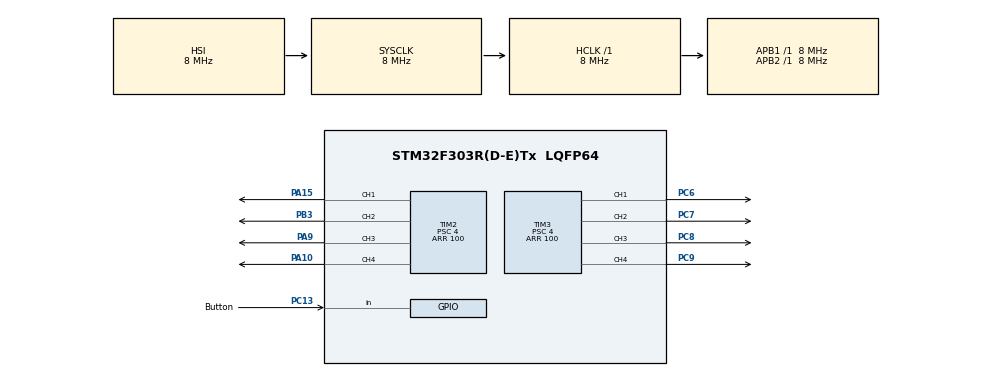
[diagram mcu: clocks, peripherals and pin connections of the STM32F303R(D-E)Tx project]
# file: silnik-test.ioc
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Mcu.Family=STM32F3
Mcu.Name=STM32F303R(D-E)Tx
Mcu.Package=LQFP64
NVIC.PriorityGroup=NVIC_PRIORITYGROUP_4
PA10.Signal=S_TIM2_CH4
PA15.Signal=S_TIM2_CH1_ETR
PA9.Signal=S_TIM2_CH3
PB3.Signal=S_TIM2_CH2
PC13.GPIO_Label=Button
PC13.Signal=GPIO_Input
PC6.Signal=S_TIM3_CH1
PC7.Signal=S_TIM3_CH2
PC8.Signal=S_TIM3_CH3
PC9.Signal=S_TIM3_CH4
ProjectManager.HeapSize=0x200
ProjectManager.StackSize=0x400
ProjectManager.TargetToolchain=STM32CubeIDE
RCC.AHBFreq_Value=8000000
RCC.APB1Freq_Value=8000000
RCC.APB2Freq_Value=8000000
RCC.CortexFreq_Value=8000000
RCC.HSE_VALUE=8000000
RCC.HSI_VALUE=8000000
RCC.LSE_VALUE=32768
RCC.SYSCLKFreq_VALUE=8000000
RCC.USBFreq_Value=16000000
SH.S_TIM2_CH1_ETR.0=TIM2_CH1,PWM Generation1 CH1
SH.S_TIM2_CH2.0=TIM2_CH2,PWM Generation2 CH2
SH.S_TIM2_CH3.0=TIM2_CH3,PWM Generation3 CH3
SH.S_TIM2_CH4.0=TIM2_CH4,PWM Generation4 CH4
SH.S_TIM3_CH1.0=TIM3_CH1,PWM Generation1 CH1
SH.S_TIM3_CH2.0=TIM3_CH2,PWM Generation2 CH2
SH.S_TIM3_CH3.0=TIM3_CH3,PWM Generation3 CH3
SH.S_TIM3_CH4.0=TIM3_CH4,PWM Generation4 CH4
TIM2.Channel-PWM\ Generation1\ CH1=TIM_CHANNEL_1
TIM2.Channel-PWM\ Generation2\ CH2=TIM_CHANNEL_2
TIM2.Channel-PWM\ Generation3\ CH3=TIM_CHANNEL_3
TIM2.Channel-PWM\ Generation4\ CH4=TIM_CHANNEL_4
TIM2.Period=100
TIM2.Prescaler=4
TIM3.Channel-PWM\ Generation1\ CH1=TIM_CHANNEL_1
TIM3.Channel-PWM\ Generation2\ CH2=TIM_CHANNEL_2
TIM3.Channel-PWM\ Generation3\ CH3=TIM_CHANNEL_3
TIM3.Channel-PWM\ Generation4\ CH4=TIM_CHANNEL_4
TIM3.Period=100
TIM3.Prescaler=4
VP_TIM2_VS_ClockSourceINT.Mode=Internal
VP_TIM3_VS_ClockSourceINT.Mode=Internal
board=custom

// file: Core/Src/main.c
/* USER CODE BEGIN Header */
/**
  ******************************************************************************
  * @file           : main.c
  * @brief          : Main program body
  ******************************************************************************
  * @attention
  *
  * Copyright (c) 2025 STMicroelectronics.
  * All rights reserved.
  *
  * This software is licensed under terms that can be found in the LICENSE file
  * in the root directory of this software component.
  * If no LICENSE file comes with this software, it is provided AS-IS.
  *
  ******************************************************************************
  */
/* USER CODE END Header */
#include "main.h"

TIM_HandleTypeDef htim2;
TIM_HandleTypeDef htim3;

void SystemClock_Config(void);
static void MX_GPIO_Init(void);
static void MX_TIM3_Init(void);
static void MX_TIM2_Init(void);

int main(void)
{

  /* MCU Configuration--------------------------------------------------------*/

  /* Reset of all peripherals, Initializes the Flash interface and the Systick. */
  HAL_Init();

  /* Configure the system clock */
  SystemClock_Config();

  /* Initialize all configured peripherals */
  MX_GPIO_Init();
  MX_TIM3_Init();
  MX_TIM2_Init();
  /* USER CODE BEGIN 2 */
  HAL_TIM_PWM_Start(&htim2, TIM_CHANNEL_1);
  HAL_TIM_PWM_Start(&htim2, TIM_CHANNEL_2);
  HAL_TIM_PWM_Start(&htim2, TIM_CHANNEL_3);
  HAL_TIM_PWM_Start(&htim2, TIM_CHANNEL_4);
  HAL_TIM_PWM_Start(&htim3, TIM_CHANNEL_1);
  HAL_TIM_PWM_Start(&htim3, TIM_CHANNEL_2);
  HAL_TIM_PWM_Start(&htim3, TIM_CHANNEL_3);
  HAL_TIM_PWM_Start(&htim3, TIM_CHANNEL_4);
  /* USER CODE END 2 */

  /* Infinite loop */
  /* USER CODE BEGIN WHILE */

uint8_t stan;
  while (1)
  {
	  if(!HAL_GPIO_ReadPin(Button_GPIO_Port, Button_Pin)){
		  stan^=1;
	  }

	  if(stan==0){
		  TIM2 -> CCR1 = 100;
		  TIM2 -> CCR2 = 100;
		  TIM2 -> CCR3 = 100;
		  TIM2 -> CCR4 = 100;
		  TIM3 -> CCR1 = 100;
		  TIM3 -> CCR2 = 100;
		  TIM3 -> CCR3 = 100;
		  TIM3 -> CCR4 = 100;
	  }
	  if(stan==1){
		  TIM2 -> CCR1 = 100;
		  TIM2 -> CCR2 = 100 - 100;
		  TIM2 -> CCR3 = 100;
		  TIM2 -> CCR4 = 100 - 100;
		  TIM3 -> CCR1 = 100;
		  TIM3 -> CCR2 = 100 - 100;
		  TIM3 -> CCR3 = 100;
		  TIM3 -> CCR4 = 100 - 100;
	  }
    /* USER CODE END WHILE */

  }
}

void SystemClock_Config(void)
{
  RCC_OscInitTypeDef RCC_OscInitStruct = {0};
  RCC_ClkInitTypeDef RCC_ClkInitStruct = {0};
  RCC_PeriphCLKInitTypeDef PeriphClkInit = {0};

  /** Initializes the RCC Oscillators according to the specified parameters
  * in the RCC_OscInitTypeDef structure.
  */
  RCC_OscInitStruct.OscillatorType = RCC_OSCILLATORTYPE_HSI;
  RCC_OscInitStruct.HSIState = RCC_HSI_ON;
  RCC_OscInitStruct.HSICalibrationValue = RCC_HSICALIBRATION_DEFAULT;
  RCC_OscInitStruct.PLL.PLLState = RCC_PLL_NONE;
  if (HAL_RCC_OscConfig(&RCC_OscInitStruct) != HAL_OK)
  {
    Error_Handler();
  }

  /** Initializes the CPU, AHB and APB buses clocks
  */
  RCC_ClkInitStruct.ClockType = RCC_CLOCKTYPE_HCLK|RCC_CLOCKTYPE_SYSCLK
                              |RCC_CLOCKTYPE_PCLK1|RCC_CLOCKTYPE_PCLK2;
  RCC_ClkInitStruct.SYSCLKSource = RCC_SYSCLKSOURCE_HSI;
  RCC_ClkInitStruct.AHBCLKDivider = RCC_SYSCLK_DIV1;
  RCC_ClkInitStruct.APB1CLKDivider = RCC_HCLK_DIV1;
  RCC_ClkInitStruct.APB2CLKDivider = RCC_HCLK_DIV1;

  if (HAL_RCC_ClockConfig(&RCC_ClkInitStruct, FLASH_LATENCY_0) != HAL_OK)
  {
    Error_Handler();
  }
  PeriphClkInit.PeriphClockSelection = RCC_PERIPHCLK_TIM2|RCC_PERIPHCLK_TIM34;
  PeriphClkInit.Tim2ClockSelection = RCC_TIM2CLK_HCLK;
  PeriphClkInit.Tim34ClockSelection = RCC_TIM34CLK_HCLK;
  if (HAL_RCCEx_PeriphCLKConfig(&PeriphClkInit) != HAL_OK)
  {
    Error_Handler();
  }
}

static void MX_TIM2_Init(void)
{

  TIM_ClockConfigTypeDef sClockSourceConfig = {0};
  TIM_MasterConfigTypeDef sMasterConfig = {0};
  TIM_OC_InitTypeDef sConfigOC = {0};

  htim2.Instance = TIM2;
  htim2.Init.Prescaler = 4;
  htim2.Init.CounterMode = TIM_COUNTERMODE_UP;
  htim2.Init.Period = 100;
  htim2.Init.ClockDivision = TIM_CLOCKDIVISION_DIV1;
  htim2.Init.AutoReloadPreload = TIM_AUTORELOAD_PRELOAD_DISABLE;
  if (HAL_TIM_Base_Init(&htim2) != HAL_OK)
  {
    Error_Handler();
  }
  sClockSourceConfig.ClockSource = TIM_CLOCKSOURCE_INTERNAL;
  if (HAL_TIM_ConfigClockSource(&htim2, &sClockSourceConfig) != HAL_OK)
  {
    Error_Handler();
  }
  if (HAL_TIM_PWM_Init(&htim2) != HAL_OK)
  {
    Error_Handler();
  }
  sMasterConfig.MasterOutputTrigger = TIM_TRGO_RESET;
  sMasterConfig.MasterSlaveMode = TIM_MASTERSLAVEMODE_DISABLE;
  if (HAL_TIMEx_MasterConfigSynchronization(&htim2, &sMasterConfig) != HAL_OK)
  {
    Error_Handler();
  }
  sConfigOC.OCMode = TIM_OCMODE_PWM1;
  sConfigOC.Pulse = 0;
  sConfigOC.OCPolarity = TIM_OCPOLARITY_HIGH;
  sConfigOC.OCFastMode = TIM_OCFAST_DISABLE;
  if (HAL_TIM_PWM_ConfigChannel(&htim2, &sConfigOC, TIM_CHANNEL_1) != HAL_OK)
  {
    Error_Handler();
  }
  if (HAL_TIM_PWM_ConfigChannel(&htim2, &sConfigOC, TIM_CHANNEL_2) != HAL_OK)
  {
    Error_Handler();
  }
  if (HAL_TIM_PWM_ConfigChannel(&htim2, &sConfigOC, TIM_CHANNEL_3) != HAL_OK)
  {
    Error_Handler();
  }
  if (HAL_TIM_PWM_ConfigChannel(&htim2, &sConfigOC, TIM_CHANNEL_4) != HAL_OK)
  {
    Error_Handler();
  }
  HAL_TIM_MspPostInit(&htim2);

}

static void MX_TIM3_Init(void)
{

  TIM_ClockConfigTypeDef sClockSourceConfig = {0};
  TIM_MasterConfigTypeDef sMasterConfig = {0};
  TIM_OC_InitTypeDef sConfigOC = {0};

  htim3.Instance = TIM3;
  htim3.Init.Prescaler = 4;
  htim3.Init.CounterMode = TIM_COUNTERMODE_UP;
  htim3.Init.Period = 100;
  htim3.Init.ClockDivision = TIM_CLOCKDIVISION_DIV1;
  htim3.Init.AutoReloadPreload = TIM_AUTORELOAD_PRELOAD_DISABLE;
  if (HAL_TIM_Base_Init(&htim3) != HAL_OK)
  {
    Error_Handler();
  }
  sClockSourceConfig.ClockSource = TIM_CLOCKSOURCE_INTERNAL;
  if (HAL_TIM_ConfigClockSource(&htim3, &sClockSourceConfig) != HAL_OK)
  {
    Error_Handler();
  }
  if (HAL_TIM_PWM_Init(&htim3) != HAL_OK)
  {
    Error_Handler();
  }
  sMasterConfig.MasterOutputTrigger = TIM_TRGO_RESET;
  sMasterConfig.MasterSlaveMode = TIM_MASTERSLAVEMODE_DISABLE;
  if (HAL_TIMEx_MasterConfigSynchronization(&htim3, &sMasterConfig) != HAL_OK)
  {
    Error_Handler();
  }
  sConfigOC.OCMode = TIM_OCMODE_PWM1;
  sConfigOC.Pulse = 0;
  sConfigOC.OCPolarity = TIM_OCPOLARITY_HIGH;
  sConfigOC.OCFastMode = TIM_OCFAST_DISABLE;
  if (HAL_TIM_PWM_ConfigChannel(&htim3, &sConfigOC, TIM_CHANNEL_1) != HAL_OK)
  {
    Error_Handler();
  }
  if (HAL_TIM_PWM_ConfigChannel(&htim3, &sConfigOC, TIM_CHANNEL_2) != HAL_OK)
  {
    Error_Handler();
  }
  if (HAL_TIM_PWM_ConfigChannel(&htim3, &sConfigOC, TIM_CHANNEL_3) != HAL_OK)
  {
    Error_Handler();
  }
  if (HAL_TIM_PWM_ConfigChannel(&htim3, &sConfigOC, TIM_CHANNEL_4) != HAL_OK)
  {
    Error_Handler();
  }
  HAL_TIM_MspPostInit(&htim3);

}

static void MX_GPIO_Init(void)
{
  GPIO_InitTypeDef GPIO_InitStruct = {0};

  /* GPIO Ports Clock Enable */
  __HAL_RCC_GPIOC_CLK_ENABLE();
  __HAL_RCC_GPIOA_CLK_ENABLE();
  __HAL_RCC_GPIOB_CLK_ENABLE();

  /*Configure GPIO pin : Button_Pin */
  GPIO_InitStruct.Pin = Button_Pin;
  GPIO_InitStruct.Mode = GPIO_MODE_INPUT;
  GPIO_InitStruct.Pull = GPIO_NOPULL;
  HAL_GPIO_Init(Button_GPIO_Port, &GPIO_InitStruct);

}

void Error_Handler(void)
{
  __disable_irq();
  while (1)
  {
  }
}
